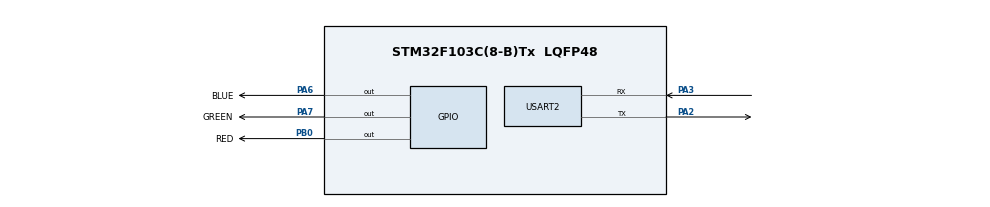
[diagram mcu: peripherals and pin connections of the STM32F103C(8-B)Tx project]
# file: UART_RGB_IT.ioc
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Mcu.Family=STM32F1
Mcu.Name=STM32F103C(8-B)Tx
Mcu.Package=LQFP48
NVIC.PriorityGroup=NVIC_PRIORITYGROUP_4
NVIC.USART2_IRQn=true\:0\:0\:false\:false\:true\:true\:true\:true
PA13.Mode=Serial_Wire
PA13.Signal=SYS_JTMS-SWDIO
PA14.Mode=Serial_Wire
PA14.Signal=SYS_JTCK-SWCLK
PA2.Mode=Asynchronous
PA2.Signal=USART2_TX
PA3.Mode=Asynchronous
PA3.Signal=USART2_RX
PA6.GPIO_Label=BLUE
PA6.Signal=GPIO_Output
PA7.GPIO_Label=GREEN
PA7.Signal=GPIO_Output
PB0.GPIO_Label=RED
PB0.Signal=GPIO_Output
ProjectManager.HeapSize=0x200
ProjectManager.StackSize=0x400
ProjectManager.TargetToolchain=MDK-ARM V5.32
RCC.APB1Freq_Value=8000000
RCC.APB2Freq_Value=8000000
USART2.VirtualMode=VM_ASYNC
board=custom

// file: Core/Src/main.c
/* USER CODE BEGIN Header */
/**
  ******************************************************************************
  * @file           : main.c
  * @brief          : Main program body
  ******************************************************************************
  * @attention
  *
  * Copyright (c) 2025 STMicroelectronics.
  * All rights reserved.
  *
  * This software is licensed under terms that can be found in the LICENSE file
  * in the root directory of this software component.
  * If no LICENSE file comes with this software, it is provided AS-IS.
  *
  ******************************************************************************
  */
/* USER CODE END Header */
#include "main.h"

UART_HandleTypeDef huart2;

/* USER CODE BEGIN PV */

// 串口接收缓冲区
uint8_t rx_data[2];

/* USER CODE END PV */

void SystemClock_Config(void);
static void MX_GPIO_Init(void);
static void MX_USART2_UART_Init(void);

int main(void)
{

  /* MCU Configuration--------------------------------------------------------*/

  /* Reset of all peripherals, Initializes the Flash interface and the Systick. */
  HAL_Init();

  /* Configure the system clock */
  SystemClock_Config();

  /* Initialize all configured peripherals */
  MX_GPIO_Init();
  MX_USART2_UART_Init();
  /* USER CODE BEGIN 2 */
	HAL_UART_Receive_IT(&huart2, rx_data, 2);
  /* USER CODE END 2 */

  /* Infinite loop */
  while (1)
  {

  }
}

void SystemClock_Config(void)
{
  RCC_OscInitTypeDef RCC_OscInitStruct = {0};
  RCC_ClkInitTypeDef RCC_ClkInitStruct = {0};

  /** Initializes the RCC Oscillators according to the specified parameters
  * in the RCC_OscInitTypeDef structure.
  */
  RCC_OscInitStruct.OscillatorType = RCC_OSCILLATORTYPE_HSI;
  RCC_OscInitStruct.HSIState = RCC_HSI_ON;
  RCC_OscInitStruct.HSICalibrationValue = RCC_HSICALIBRATION_DEFAULT;
  RCC_OscInitStruct.PLL.PLLState = RCC_PLL_NONE;
  if (HAL_RCC_OscConfig(&RCC_OscInitStruct) != HAL_OK)
  {
    Error_Handler();
  }

  /** Initializes the CPU, AHB and APB buses clocks
  */
  RCC_ClkInitStruct.ClockType = RCC_CLOCKTYPE_HCLK|RCC_CLOCKTYPE_SYSCLK
                              |RCC_CLOCKTYPE_PCLK1|RCC_CLOCKTYPE_PCLK2;
  RCC_ClkInitStruct.SYSCLKSource = RCC_SYSCLKSOURCE_HSI;
  RCC_ClkInitStruct.AHBCLKDivider = RCC_SYSCLK_DIV1;
  RCC_ClkInitStruct.APB1CLKDivider = RCC_HCLK_DIV1;
  RCC_ClkInitStruct.APB2CLKDivider = RCC_HCLK_DIV1;

  if (HAL_RCC_ClockConfig(&RCC_ClkInitStruct, FLASH_LATENCY_0) != HAL_OK)
  {
    Error_Handler();
  }
}

static void MX_USART2_UART_Init(void)
{

  huart2.Instance = USART2;
  huart2.Init.BaudRate = 115200;
  huart2.Init.WordLength = UART_WORDLENGTH_8B;
  huart2.Init.StopBits = UART_STOPBITS_1;
  huart2.Init.Parity = UART_PARITY_NONE;
  huart2.Init.Mode = UART_MODE_TX_RX;
  huart2.Init.HwFlowCtl = UART_HWCONTROL_NONE;
  huart2.Init.OverSampling = UART_OVERSAMPLING_16;
  if (HAL_UART_Init(&huart2) != HAL_OK)
  {
    Error_Handler();
  }

}

static void MX_GPIO_Init(void)
{
  GPIO_InitTypeDef GPIO_InitStruct = {0};

  /* GPIO Ports Clock Enable */
  __HAL_RCC_GPIOA_CLK_ENABLE();
  __HAL_RCC_GPIOB_CLK_ENABLE();

  /*Configure GPIO pin Output Level */
  HAL_GPIO_WritePin(GPIOA, BLUE_Pin|GREEN_Pin, GPIO_PIN_RESET);

  /*Configure GPIO pin Output Level */
  HAL_GPIO_WritePin(RED_GPIO_Port, RED_Pin, GPIO_PIN_RESET);

  /*Configure GPIO pins : BLUE_Pin GREEN_Pin */
  GPIO_InitStruct.Pin = BLUE_Pin|GREEN_Pin;
  GPIO_InitStruct.Mode = GPIO_MODE_OUTPUT_PP;
  GPIO_InitStruct.Pull = GPIO_NOPULL;
  GPIO_InitStruct.Speed = GPIO_SPEED_FREQ_LOW;
  HAL_GPIO_Init(GPIOA, &GPIO_InitStruct);

  /*Configure GPIO pin : RED_Pin */
  GPIO_InitStruct.Pin = RED_Pin;
  GPIO_InitStruct.Mode = GPIO_MODE_OUTPUT_PP;
  GPIO_InitStruct.Pull = GPIO_NOPULL;
  GPIO_InitStruct.Speed = GPIO_SPEED_FREQ_LOW;
  HAL_GPIO_Init(RED_GPIO_Port, &GPIO_InitStruct);

}

/* USER CODE BEGIN 4 */
void HAL_UART_RxCpltCallback(UART_HandleTypeDef *huart)
{
if (huart->Instance == USART2)
{
    // 根据接收到的数据控制 LED
    GPIO_PinState state = GPIO_PIN_SET;
    if (rx_data[1] == '0')
    {
    state = GPIO_PIN_RESET;
    }
    if (rx_data[0] == 'R')
    {
    HAL_GPIO_WritePin(RED_GPIO_Port, RED_Pin, state);
    }
    else if (rx_data[0] == 'G')
    {
    HAL_GPIO_WritePin(GREEN_GPIO_Port, GREEN_Pin, state);
    }
    else if (rx_data[0] == 'B')
    {
    HAL_GPIO_WritePin(BLUE_GPIO_Port, BLUE_Pin, state);
    }
    // 将收到的数据返回（中断发送）
    HAL_UART_Transmit_IT(&huart2, rx_data, 2);
    // 重新开启中断接收
    HAL_UART_Receive_IT(&huart2, rx_data, 2);
}
}
/* USER CODE END 4 */

void Error_Handler(void)
{
  __disable_irq();
  while (1)
  {
  }
}
